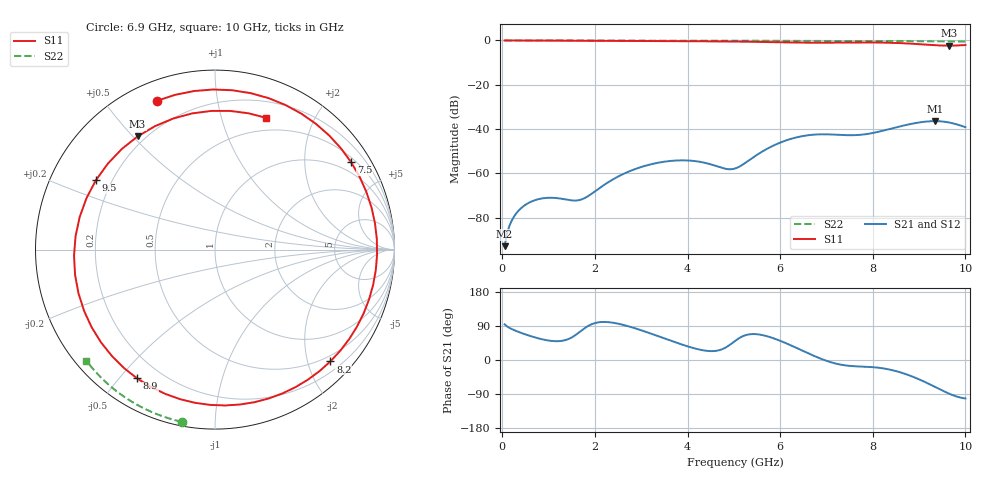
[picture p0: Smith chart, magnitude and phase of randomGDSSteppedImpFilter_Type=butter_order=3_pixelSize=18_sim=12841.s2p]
! freq	dB(S11)	phase(S11)	dB(S12)	phase(S12)
!  dB(S21)	phase(S21)	dB(S22)	phase(S22)
!S-par simulation data
#  GHz  S  DB  R 50
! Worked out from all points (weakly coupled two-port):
!   200 points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, 50 MHz to 10 GHz, reference 50 ohm
!   highest |S21| = -36.42 dB at 9.35 GHz (marker M1); lowest = -92.9 dB at 50 MHz (marker M2)
!   lowest |S11| = -2.3 dB at 9.65 GHz (marker M3), VSWR 7.47, Z = 8.51 + j25.8 ohm
!   |S11| at or under -10 dB: nowhere
!   |S22| runs from -0.5 to 0.0 dB; largest |S21 - S12| = 0
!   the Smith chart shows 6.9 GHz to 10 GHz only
!   S11 on the Smith chart (normalised r, x): 6.9 GHz: 0.09, +0.68; 7.5 GHz: 0.64, +3.30; 8.2 GHz: 0.39, -2.42; 8.9 GHz: 0.12, -0.56; 9.5 GHz: 0.14, +0.27; 10 GHz: 0.36, +1.40
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0.05  -0.00 -3.9  -92.88 94.0  -92.88 94.0  -0.00 -0.8
0.95  -0.09 -72.2  -71.08 52.4  -71.08 52.4  -0.02 -15.2
1.75  -0.15 -129.4  -71.45 81.4  -71.45 81.4  -0.04 -27.8
2.55  -0.21 175.1  -60.92 94.5  -60.92 94.5  -0.05 -40.2
3.4  -0.27 113.3  -55.07 61.4  -55.07 61.4  -0.07 -52.9
4.1  -0.35 57.4  -54.33 32.4  -54.33 32.4  -0.09 -63.1
4.6  -0.42 14.0  -56.57 23.9  -56.57 23.9  -0.10 -70.2
5.05  -0.50 -27.6  -57.64 52.4  -57.64 52.4  -0.12 -76.5
5.5  -0.63 -72.5  -51.64 68.0  -51.64 68.0  -0.13 -82.6
5.85  -0.76 -110.8  -47.51 57.6  -47.51 57.6  -0.15 -87.3
6.3  -0.93 -166.0  -44.04 34.8  -44.04 34.8  -0.17 -93.3
6.7  -1.02 139.4  -42.57 12.5  -42.57 12.5  -0.19 -98.4
6.9  -1.01 111.4  -42.37 2.3  -42.37 2.3  -0.20 -101.0
7.5  -0.90 32.6  -42.78 -15.5  -42.78 -15.5  -0.24 -108.6
7.85  -0.88 -7.2  -42.32 -17.8  -42.32 -17.8  -0.27 -113.0
8.2  -0.96 -44.1  -40.85 -21.6  -40.85 -21.6  -0.29 -117.3
8.35  -1.03 -59.6  -40.06 -24.9  -40.06 -24.9  -0.31 -119.1
8.9  -1.53 -121.2  -37.38 -45.9  -37.38 -45.9  -0.36 -125.9
9.35  -2.15 174.5  -36.42 -71.3  -36.42 -71.3  -0.40 -131.3
9.5  -2.29 149.8  -36.58 -80.4  -36.58 -80.4  -0.42 -133.1
9.65  -2.34 124.4  -37.05 -88.9  -37.05 -88.9  -0.43 -134.9
10  -2.08 68.9  -39.14 -101.4  -39.14 -101.4  -0.47 -139.2
